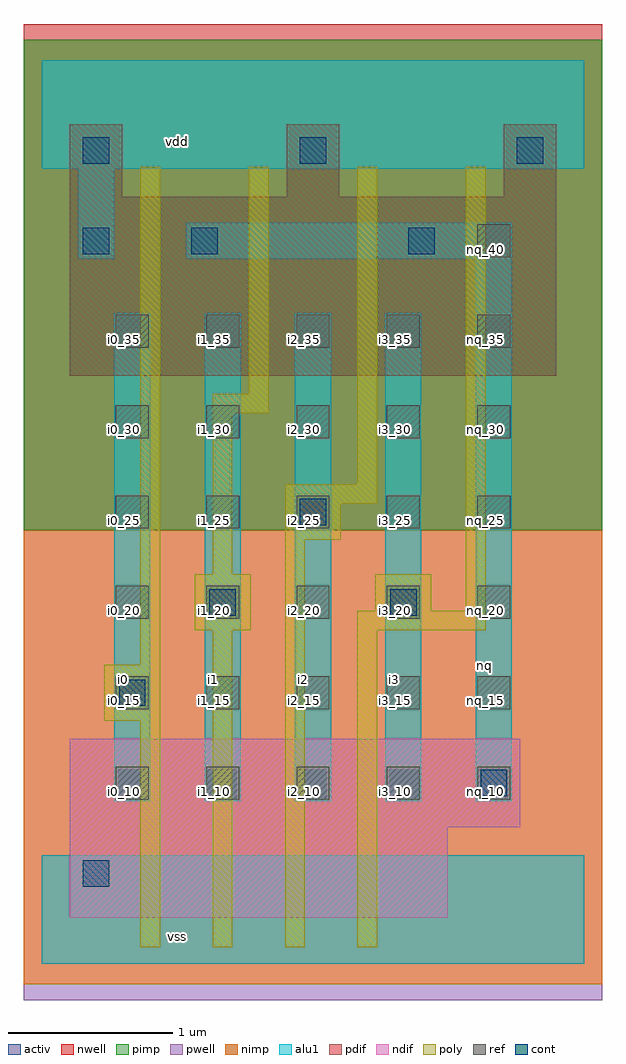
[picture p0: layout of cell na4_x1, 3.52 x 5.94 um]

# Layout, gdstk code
import gdstk
lib = gdstk.Library(unit=1e-6, precision=2.5e-09)
def R(c, l, rs):  # rectangles x0, y0, x1, y1
    for r in rs: c.add(gdstk.rectangle(r[:2], r[2:], *l))
def A(c, l, x, y, w, h, nx, ny, dx, dy):  # array of equal rectangles
    R(c, l, [(x+i*dx, y+j*dy, x+i*dx+w, y+j*dy+h) for i in range(nx) for j in range(ny)])
ndif = (3, 0)
pdif = (4, 0)
ref = (24, 0)
cont = (25, 0)
pwell = (41, 0)
nwell = (42, 0)
activ = (43, 0)
pimp = (44, 0)
nimp = (45, 0)
poly = (46, 0)
alu1 = (49, 0)

na4_x1 = lib.new_cell('na4_x1')
R(na4_x1, ndif, [(0.17,0.28,2.47,0.83), (0.17,0.28,2.47,0.83), (0.17,0.83,2.91,1.37), (0.17,0.83,2.91,1.37)])
R(na4_x1, pdif, [(0.17,3.58,3.13,4.67), (0.17,3.58,3.13,4.67), (0.17,4.67,0.49,5.11), (0.17,4.67,0.49,5.11), (1.49,4.67,1.81,5.11), (1.49,4.67,1.81,5.11), (2.81,4.67,3.13,5.11), (2.81,4.67,3.13,5.11)])
A(na4_x1, ref, 0.45, 1, 0.2, 0.2, 5, 6, 0.55, 0.55)
R(na4_x1, ref, [(2.65,4.3,2.85,4.5)])
A(na4_x1, cont, 0.25, 4.87, 0.16, 0.16, 3, 1, 1.32, 0)
R(na4_x1, cont, [(0.25,0.47,0.41,0.63), (2.67,1.02,2.83,1.18), (0.47,1.57,0.63,1.73), (1.02,2.12,1.18,2.28), (2.12,2.12,2.28,2.28), (1.57,2.67,1.73,2.83), (0.25,4.32,0.41,4.48), (0.91,4.32,1.07,4.48), (2.23,4.32,2.39,4.48)])
R(na4_x1, pwell, [(-0.11,-0.22,3.41,2.64)])
R(na4_x1, nwell, [(-0.11,2.64,3.41,5.72)])
R(na4_x1, activ, [(0.17,0.28,2.47,0.83), (0.17,0.28,2.47,0.83), (0.17,0.83,2.91,1.37), (0.17,0.83,2.91,1.37), (0.17,3.58,3.13,4.67), (0.17,3.58,3.13,4.67), (0.17,4.67,0.49,5.11), (0.17,4.67,0.49,5.11), (1.49,4.67,1.81,5.11), (1.49,4.67,1.81,5.11), (2.81,4.67,3.13,5.11), (2.81,4.67,3.13,5.11)])
R(na4_x1, pimp, [(-0.11,2.64,3.41,5.625)])
R(na4_x1, nimp, [(-0.11,-0.125,3.41,2.64)])
R(na4_x1, poly, [(0.6,0.1,0.72,1.48), (1.04,0.1,1.16,2.03), (1.48,0.1,1.6,2.58), (1.92,0.1,2.04,2.03), (0.38,1.48,0.72,1.82), (0.6,1.82,0.72,4.85), (0.93,2.03,1.27,2.37), (1.92,2.03,2.7,2.15), (2.03,2.15,2.37,2.37), (2.58,2.15,2.7,4.85), (1.04,2.37,1.16,3.35), (1.48,2.58,1.82,2.8), (1.48,2.8,2.04,2.92), (1.92,2.92,2.04,4.85), (1.04,3.35,1.38,3.47), (1.26,3.47,1.38,4.85)])
A(na4_x1, alu1, 0.44, 0.99, 0.22, 2.97, 4, 1, 0.55, 0)
R(na4_x1, alu1, [(0,0,3.3,0.66), (2.64,0.99,2.86,4.29), (0.22,4.29,0.44,4.84), (0.88,4.29,2.86,4.51), (0,4.84,3.3,5.5)])
na4_x1.add(gdstk.Label('vss', (0.825,0.165), layer=49, texttype=0))
na4_x1.add(gdstk.Label('nq', (2.695,1.815), layer=49, texttype=0))
na4_x1.add(gdstk.Label('i3', (2.145,1.7325), layer=49, texttype=0))
na4_x1.add(gdstk.Label('i2', (1.595,1.7325), layer=49, texttype=0))
na4_x1.add(gdstk.Label('i1', (1.045,1.7325), layer=49, texttype=0))
na4_x1.add(gdstk.Label('i0', (0.495,1.7325), layer=49, texttype=0))
na4_x1.add(gdstk.Label('vdd', (0.825,5.005), layer=49, texttype=0))
na4_x1.add(gdstk.Label('i0_15', (0.5,1.6), layer=24, texttype=0))
na4_x1.add(gdstk.Label('i0_20', (0.5,2.15), layer=24, texttype=0))
na4_x1.add(gdstk.Label('i0_25', (0.5,2.7), layer=24, texttype=0))
na4_x1.add(gdstk.Label('i0_30', (0.5,3.25), layer=24, texttype=0))
na4_x1.add(gdstk.Label('i0_35', (0.5,3.8), layer=24, texttype=0))
na4_x1.add(gdstk.Label('i0_10', (0.5,1.05), layer=24, texttype=0))
na4_x1.add(gdstk.Label('i1_10', (1.05,1.05), layer=24, texttype=0))
na4_x1.add(gdstk.Label('i1_15', (1.05,1.6), layer=24, texttype=0))
na4_x1.add(gdstk.Label('i1_20', (1.05,2.15), layer=24, texttype=0))
na4_x1.add(gdstk.Label('i1_25', (1.05,2.7), layer=24, texttype=0))
na4_x1.add(gdstk.Label('i1_30', (1.05,3.25), layer=24, texttype=0))
na4_x1.add(gdstk.Label('i1_35', (1.05,3.8), layer=24, texttype=0))
na4_x1.add(gdstk.Label('i2_35', (1.6,3.8), layer=24, texttype=0))
na4_x1.add(gdstk.Label('i2_30', (1.6,3.25), layer=24, texttype=0))
na4_x1.add(gdstk.Label('i2_25', (1.6,2.7), layer=24, texttype=0))
na4_x1.add(gdstk.Label('i2_20', (1.6,2.15), layer=24, texttype=0))
na4_x1.add(gdstk.Label('i2_15', (1.6,1.6), layer=24, texttype=0))
na4_x1.add(gdstk.Label('i2_10', (1.6,1.05), layer=24, texttype=0))
na4_x1.add(gdstk.Label('i3_10', (2.15,1.05), layer=24, texttype=0))
na4_x1.add(gdstk.Label('i3_15', (2.15,1.6), layer=24, texttype=0))
na4_x1.add(gdstk.Label('i3_20', (2.15,2.15), layer=24, texttype=0))
na4_x1.add(gdstk.Label('i3_25', (2.15,2.7), layer=24, texttype=0))
na4_x1.add(gdstk.Label('i3_30', (2.15,3.25), layer=24, texttype=0))
na4_x1.add(gdstk.Label('i3_35', (2.15,3.8), layer=24, texttype=0))
na4_x1.add(gdstk.Label('nq_35', (2.7,3.8), layer=24, texttype=0))
na4_x1.add(gdstk.Label('nq_30', (2.7,3.25), layer=24, texttype=0))
na4_x1.add(gdstk.Label('nq_25', (2.7,2.7), layer=24, texttype=0))
na4_x1.add(gdstk.Label('nq_20', (2.7,2.15), layer=24, texttype=0))
na4_x1.add(gdstk.Label('nq_15', (2.7,1.6), layer=24, texttype=0))
na4_x1.add(gdstk.Label('nq_10', (2.7,1.05), layer=24, texttype=0))
na4_x1.add(gdstk.Label('nq_40', (2.7,4.35), layer=24, texttype=0))

lib.write_gds('na4_x1.gds')
